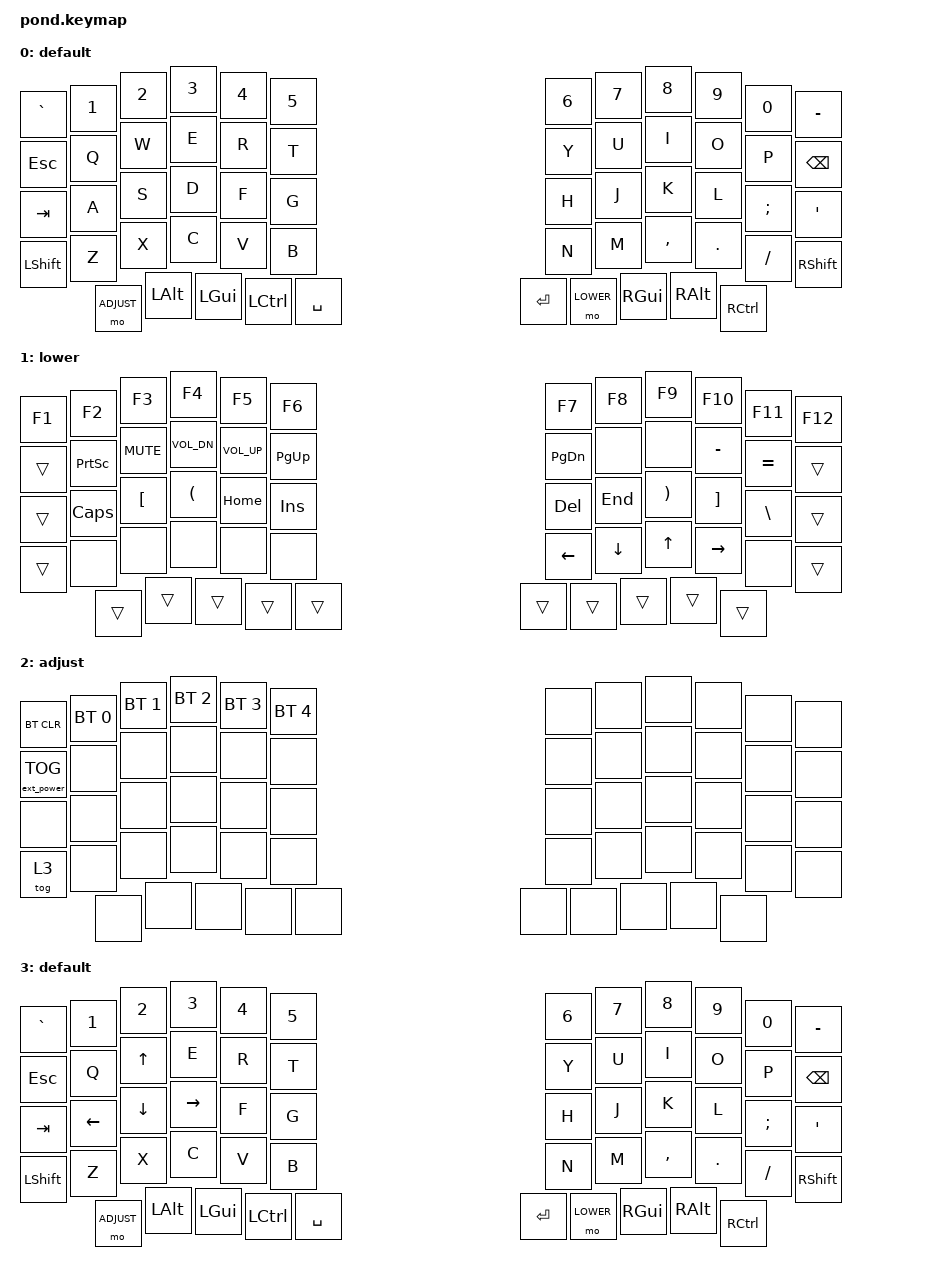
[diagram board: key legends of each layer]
/*
 * Copyright (c) 2020 The ZMK Contributors
 *
 * SPDX-License-Identifier: MIT
 */

#include <behaviors.dtsi>
#include <dt-bindings/zmk/keys.h>
#include <dt-bindings/zmk/bt.h>
#include <dt-bindings/zmk/ext_power.h>

#define BASE 0
#define LOWER 1
#define ADJUST 2
#define RPG 3

/ {
    keymap {
        compatible = "zmk,keymap";

        default_layer {
            display-name = "default";
            bindings = <
&kp GRAVE &kp N1 &kp N2        &kp N3   &kp N4    &kp N5                           &kp N6     &kp N7    &kp N8    &kp N9   &kp N0   &kp MINUS
&kp ESC   &kp Q  &kp W         &kp E    &kp R     &kp T                            &kp Y      &kp U     &kp I     &kp O    &kp P    &kp BSPC
&kp TAB   &kp A  &kp S         &kp D    &kp F     &kp G                            &kp H      &kp J     &kp K     &kp L    &kp SEMI &kp SQT
&kp LSHFT &kp Z  &kp X         &kp C    &kp V     &kp B                            &kp N      &kp M     &kp COMMA &kp DOT  &kp FSLH &kp RSHFT
                 &mo ADJUST    &kp LALT &kp LGUI  &kp LCTRL  &kp SPACE     &kp RET &mo LOWER  &kp RGUI  &kp RALT  &kp RCTRL
            >;
        };

        lower_layer {
            display-name = "lower";
            bindings = <
&kp F1    &kp F2    &kp F3     &kp F4       &kp F5       &kp F6                   &kp F7     &kp F8   &kp F9    &kp F10   &kp F11   &kp F12
&trans    &kp PSCRN &kp K_MUTE &kp K_VOL_DN &kp K_VOL_UP &kp PG_UP                &kp PG_DN  &none    &none     &kp MINUS &kp EQUAL &trans
&trans    &kp CAPS  &kp LBKT   &kp LPAR     &kp HOME     &kp INSERT               &kp DELETE &kp END  &kp RPAR  &kp RBKT  &kp BSLH  &trans
&trans    &none     &none      &none        &none        &none                    &kp LEFT   &kp DOWN &kp UP    &kp RIGHT &none     &trans
                    &trans     &trans       &trans       &trans    &trans  &trans &trans     &trans   &trans    &trans
            >;
        };

        adjust_layer {
            display-name = "adjust";
            bindings = <
&bt BT_CLR        &bt BT_SEL 0    &bt BT_SEL 1    &bt BT_SEL 2    &bt BT_SEL 3    &bt BT_SEL 4                            &none &none &none &none &none &none
&ext_power EP_TOG &none           &none           &none           &none           &none                                   &none &none &none &none &none &none
&none             &none           &none           &none           &none           &none                                   &none &none &none &none &none &none
&tog 3            &none           &none           &none           &none           &none                                   &none &none &none &none &none &none
                                  &none           &none           &none           &none            &none           &none  &none &none &none &none
            >;
        };

	rpg_layer {
            display-name = "default";
            bindings = <
&kp GRAVE &kp N1 &kp N2        &kp N3   &kp N4    &kp N5                           &kp N6     &kp N7    &kp N8    &kp N9   &kp N0   &kp MINUS
&kp ESC   &kp Q  &kp UP         &kp E    &kp R     &kp T                            &kp Y      &kp U     &kp I     &kp O    &kp P    &kp BSPC
&kp TAB   &kp LEFT  &kp DOWN         &kp RIGHT    &kp F     &kp G                            &kp H      &kp J     &kp K     &kp L    &kp SEMI &kp SQT
&kp LSHFT &kp Z  &kp X         &kp C    &kp V     &kp B                            &kp N      &kp M     &kp COMMA &kp DOT  &kp FSLH &kp RSHFT
                 &mo ADJUST    &kp LALT &kp LGUI  &kp LCTRL  &kp SPACE     &kp RET &mo LOWER  &kp RGUI  &kp RALT  &kp RCTRL
            >;
        };

    };
};
